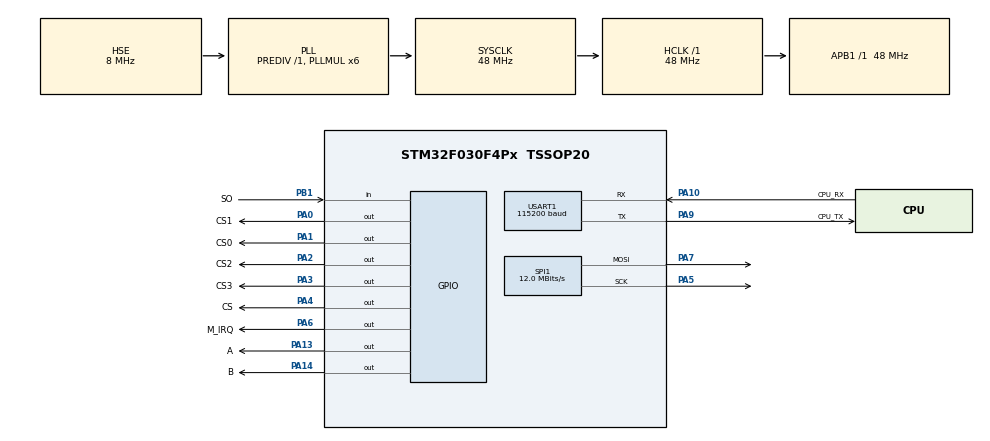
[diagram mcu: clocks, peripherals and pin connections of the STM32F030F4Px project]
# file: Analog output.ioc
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Dma.Request0=USART1_TX
Dma.Request1=USART1_RX
Dma.USART1_RX.1.Direction=DMA_PERIPH_TO_MEMORY
Dma.USART1_RX.1.Instance=DMA1_Channel3
Dma.USART1_RX.1.MemDataAlignment=DMA_MDATAALIGN_BYTE
Dma.USART1_RX.1.MemInc=DMA_MINC_ENABLE
Dma.USART1_RX.1.Mode=DMA_NORMAL
Dma.USART1_RX.1.PeriphDataAlignment=DMA_PDATAALIGN_BYTE
Dma.USART1_RX.1.PeriphInc=DMA_PINC_DISABLE
Dma.USART1_RX.1.Priority=DMA_PRIORITY_HIGH
Dma.USART1_TX.0.Direction=DMA_MEMORY_TO_PERIPH
Dma.USART1_TX.0.Instance=DMA1_Channel2
Dma.USART1_TX.0.MemDataAlignment=DMA_MDATAALIGN_BYTE
Dma.USART1_TX.0.MemInc=DMA_MINC_ENABLE
Dma.USART1_TX.0.Mode=DMA_NORMAL
Dma.USART1_TX.0.PeriphDataAlignment=DMA_PDATAALIGN_BYTE
Dma.USART1_TX.0.PeriphInc=DMA_PINC_DISABLE
Dma.USART1_TX.0.Priority=DMA_PRIORITY_MEDIUM
IWDG.Prescaler=IWDG_PRESCALER_64
IWDG.Reload=1250
Mcu.Family=STM32F0
Mcu.Name=STM32F030F4Px
Mcu.Package=TSSOP20
NVIC.DMA1_Channel2_3_IRQn=true\:0\:0\:false\:false\:true\:false\:true\:true
NVIC.TIM1_BRK_UP_TRG_COM_IRQn=true\:0\:0\:false\:false\:true\:true\:true\:true
NVIC.USART1_IRQn=true\:0\:0\:false\:false\:true\:true\:true\:true
PA0.GPIO_Label=CS1
PA0.GPIO_PuPd=GPIO_PULLUP
PA0.GPIO_Speed=GPIO_SPEED_FREQ_HIGH
PA0.PinState=GPIO_PIN_SET
PA0.Signal=GPIO_Output
PA1.GPIO_Label=CS0
PA1.GPIO_PuPd=GPIO_PULLUP
PA1.GPIO_Speed=GPIO_SPEED_FREQ_HIGH
PA1.PinState=GPIO_PIN_SET
PA1.Signal=GPIO_Output
PA10.GPIO_Label=CPU_RX
PA10.Mode=Asynchronous
PA10.Signal=USART1_RX
PA13.GPIO_Label=A
PA13.GPIO_PuPd=GPIO_PULLUP
PA13.GPIO_Speed=GPIO_SPEED_FREQ_LOW
PA13.PinState=GPIO_PIN_SET
PA13.Signal=GPIO_Output
PA14.GPIO_Label=B
PA14.GPIO_PuPd=GPIO_PULLUP
PA14.GPIO_Speed=GPIO_SPEED_FREQ_LOW
PA14.PinState=GPIO_PIN_SET
PA14.Signal=GPIO_Output
PA2.GPIO_Label=CS2
PA2.GPIO_PuPd=GPIO_PULLUP
PA2.GPIO_Speed=GPIO_SPEED_FREQ_HIGH
PA2.PinState=GPIO_PIN_SET
PA2.Signal=GPIO_Output
PA3.GPIO_Label=CS3
PA3.GPIO_PuPd=GPIO_PULLUP
PA3.GPIO_Speed=GPIO_SPEED_FREQ_HIGH
PA3.PinState=GPIO_PIN_SET
PA3.Signal=GPIO_Output
PA4.GPIO_Label=CS
PA4.GPIO_PuPd=GPIO_PULLUP
PA4.GPIO_Speed=GPIO_SPEED_FREQ_HIGH
PA4.PinState=GPIO_PIN_SET
PA4.Signal=GPIO_Output
PA5.Mode=TX_Only_Simplex_Unidirect_Master
PA5.Signal=SPI1_SCK
PA6.GPIO_Label=M_IRQ
PA6.Signal=GPIO_Output
PA7.Mode=TX_Only_Simplex_Unidirect_Master
PA7.Signal=SPI1_MOSI
PA9.GPIO_Label=CPU_TX
PA9.Mode=Asynchronous
PA9.Signal=USART1_TX
PB1.GPIO_Label=SO
PB1.GPIO_PuPd=GPIO_PULLUP
PB1.Signal=GPIO_Input
PF0-OSC_IN.Mode=HSE-External-Oscillator
PF0-OSC_IN.Signal=RCC_OSC_IN
PF1-OSC_OUT.Mode=HSE-External-Oscillator
PF1-OSC_OUT.Signal=RCC_OSC_OUT
ProjectManager.HeapSize=0x200
ProjectManager.StackSize=0x400
ProjectManager.TargetToolchain=MDK-ARM V5.27
RCC.AHBFreq_Value=48000000
RCC.APB1Freq_Value=48000000
RCC.APB1TimFreq_Value=48000000
RCC.FLatency=FLASH_LATENCY_1
RCC.HCLKFreq_Value=48000000
RCC.PLLMUL=RCC_PLL_MUL6
RCC.PLLSourceVirtual=RCC_PLLSOURCE_HSE
RCC.SYSCLKFreq_VALUE=48000000
RCC.SYSCLKSource=RCC_SYSCLKSOURCE_PLLCLK
SPI1.BaudRatePrescaler=SPI_BAUDRATEPRESCALER_4
SPI1.CalculateBaudRate=12.0 MBits/s
SPI1.DataSize=SPI_DATASIZE_16BIT
SPI1.Direction=SPI_DIRECTION_2LINES
SPI1.Mode=SPI_MODE_MASTER
SPI1.VirtualType=VM_MASTER
TIM1.AutoReloadPreload=TIM_AUTORELOAD_PRELOAD_ENABLE
TIM1.ClockDivision=TIM_CLOCKDIVISION_DIV1
TIM1.CounterMode=TIM_COUNTERMODE_UP
TIM1.Period=1000
TIM1.Prescaler=480-1
TIM1.RepetitionCounter=0
TIM1.TIM_MasterOutputTrigger=TIM_TRGO_RESET
TIM1.TIM_MasterSlaveMode=TIM_MASTERSLAVEMODE_DISABLE
USART1.AutoBaudRateEnableParam=UART_ADVFEATURE_AUTOBAUDRATE_DISABLE
USART1.BaudRate=115200
USART1.DMADisableonRxErrorParam=ADVFEATURE_DMA_ENABLEONRXERROR
USART1.DataInvertParam=ADVFEATURE_DATAINV_DISABLE
USART1.MSBFirstParam=ADVFEATURE_MSBFIRST_DISABLE
USART1.Mode=MODE_TX_RX
USART1.OneBitSampling=UART_ONE_BIT_SAMPLE_DISABLE
USART1.OverSampling=UART_OVERSAMPLING_16
USART1.OverrunDisableParam=ADVFEATURE_OVERRUN_ENABLE
USART1.Parity=PARITY_NONE
USART1.RxPinLevelInvertParam=ADVFEATURE_RXINV_DISABLE
USART1.StopBits=STOPBITS_1
USART1.SwapParam=ADVFEATURE_SWAP_DISABLE
USART1.TxPinLevelInvertParam=ADVFEATURE_TXINV_DISABLE
USART1.VirtualMode-Asynchronous=VM_ASYNC
USART1.WordLength=WORDLENGTH_8B
VP_IWDG_VS_IWDG.Mode=IWDG_Activate
VP_TIM1_VS_ClockSourceINT.Mode=Internal
board=custom

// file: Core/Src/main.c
/* USER CODE BEGIN Header */
/**
 ******************************************************************************
 * @file           : main.c
 * @brief          : Main program body
 ******************************************************************************
 * @attention
 *
 * <h2><center>&copy; Copyright (c) 2022 STMicroelectronics.
 * All rights reserved.</center></h2>
 *
 * This software component is licensed by ST under BSD 3-Clause license,
 * the "License"; You may not use this file except in compliance with the
 * License. You may obtain a copy of the License at:
 *                        opensource.org/licenses/BSD-3-Clause
 *
 ******************************************************************************
 */
/* USER CODE END Header */
#include "main.h"
#include "dma.h"
#include "iwdg.h"
#include "spi.h"
#include "tim.h"
#include "usart.h"
#include "gpio.h"

/* USER CODE BEGIN Includes */
#include "tool.h"
#include "Modbus.h"
#include "io_signal.h"
/* USER CODE END Includes */

/* USER CODE BEGIN PTD */
static void TIRQ_Handle(void)
{
  /*Interrupt signal generation*/
  static IRQ_Type irq = DisEnable;
  pModbusHandle pd = Modbus_Object;

  if (pd->Slave.pHandle)
  { /*The board model is read or the corresponding interrupt processing request is responded*/
    if (*(bool *)pd->Slave.pHandle)
    {
      irq = DisEnable;
    }
    else
    {
      irq ^= DisEnable;
    }
    IRQ_Handle(irq);
  }
}

static void Debug_Handle(void)
{
#if defined(USING_DEBUG)
  // Debug("Hello word!\r\n");
  // Debug("rxbuf_size = %d,count = %d.\r\n", Modbus_Object->Slave.RxSize, Modbus_Object->Slave.RxCount);
  // for (uint8_t i = 0; i < Modbus_Object->Slave.RxCount; i++)
  // {
  //   Debug("prbuf[%d] = 0x%X\r\n", i, Modbus_Object->Slave.pRbuf[i]);
  // }
  /*??????????*/
  // static IRQ_Type irq = DisEnable;
  // irq ^= DisEnable;
  // IRQ_Handle(irq);
#endif
}

SoftTimer timer_map[] = {
    {.counter = 0U, .enable = true, .execute_flag = false, .event = TIRQ_Handle, .target_counter = 10U},
    {.counter = 0U, .enable = true, .execute_flag = false, .event = Modbus_Handle, .target_counter = 1U},
    {.counter = 0U, .enable = true, .execute_flag = false, .event = Write_Analog_IO, .target_counter = 50U},
    {.counter = 0U, .enable = true, .execute_flag = false, .event = Debug_Handle, .target_counter = 100U},
};
Timer_HandleTypeDef stimer = {
    .pmap = timer_map,
    .numbers = sizeof(timer_map) / sizeof(SoftTimer),
};
/* USER CODE END PTD */

void SystemClock_Config(void);

int main(void)
{

  /* MCU Configuration--------------------------------------------------------*/

  /* Reset of all peripherals, Initializes the Flash interface and the Systick. */
  HAL_Init();

  /* USER CODE BEGIN Init */
#if defined(USING_DEBUG)
  HAL_Delay(5000);
#endif
  /* USER CODE END Init */

  /* Configure the system clock */
  SystemClock_Config();

  /* Initialize all configured peripherals */
  MX_GPIO_Init();
  MX_DMA_Init();
  MX_USART1_UART_Init();
  MX_TIM1_Init();
  MX_SPI1_Init();
  MX_IWDG_Init();
  /* USER CODE BEGIN 2 */
  HAL_TIM_Base_Start_IT(&htim1);
  ptimer = &stimer;
  MX_ModbusInit();
  if (Modbus_Object)
  {
    __HAL_UART_ENABLE_IT(Modbus_Object->huart, UART_IT_IDLE);
    /*DMA buffer must point to an entity address!!!*/
    HAL_UART_Receive_DMA(Modbus_Object->huart, Modbus_Object->Slave.pRbuf, Modbus_Object->Slave.RxSize);
    Modbus_Object->Slave.RxCount = 0U;
  }
  /* USER CODE END 2 */

  /* Infinite loop */
  while (1)
  {

    /* USER CODE BEGIN 3 */
    HAL_IWDG_Refresh(&hiwdg);
    Timer_Handle();
  }
  /* USER CODE END 3 */
}

void SystemClock_Config(void)
{
  RCC_OscInitTypeDef RCC_OscInitStruct = {0};
  RCC_ClkInitTypeDef RCC_ClkInitStruct = {0};
  RCC_PeriphCLKInitTypeDef PeriphClkInit = {0};

  /** Initializes the RCC Oscillators according to the specified parameters
   * in the RCC_OscInitTypeDef structure.
   */
  RCC_OscInitStruct.OscillatorType = RCC_OSCILLATORTYPE_LSI | RCC_OSCILLATORTYPE_HSE;
  RCC_OscInitStruct.HSEState = RCC_HSE_ON;
  RCC_OscInitStruct.LSIState = RCC_LSI_ON;
  RCC_OscInitStruct.PLL.PLLState = RCC_PLL_ON;
  RCC_OscInitStruct.PLL.PLLSource = RCC_PLLSOURCE_HSE;
  RCC_OscInitStruct.PLL.PLLMUL = RCC_PLL_MUL6;
  RCC_OscInitStruct.PLL.PREDIV = RCC_PREDIV_DIV1;
  if (HAL_RCC_OscConfig(&RCC_OscInitStruct) != HAL_OK)
  {
    Error_Handler();
  }

  /** Initializes the CPU, AHB and APB buses clocks
   */
  RCC_ClkInitStruct.ClockType = RCC_CLOCKTYPE_HCLK | RCC_CLOCKTYPE_SYSCLK | RCC_CLOCKTYPE_PCLK1;
  RCC_ClkInitStruct.SYSCLKSource = RCC_SYSCLKSOURCE_PLLCLK;
  RCC_ClkInitStruct.AHBCLKDivider = RCC_SYSCLK_DIV1;
  RCC_ClkInitStruct.APB1CLKDivider = RCC_HCLK_DIV1;

  if (HAL_RCC_ClockConfig(&RCC_ClkInitStruct, FLASH_LATENCY_1) != HAL_OK)
  {
    Error_Handler();
  }
  PeriphClkInit.PeriphClockSelection = RCC_PERIPHCLK_USART1;
  PeriphClkInit.Usart1ClockSelection = RCC_USART1CLKSOURCE_PCLK1;
  if (HAL_RCCEx_PeriphCLKConfig(&PeriphClkInit) != HAL_OK)
  {
    Error_Handler();
  }
}

void Error_Handler(void)
{
  __disable_irq();
  while (1)
  {
  }
}
